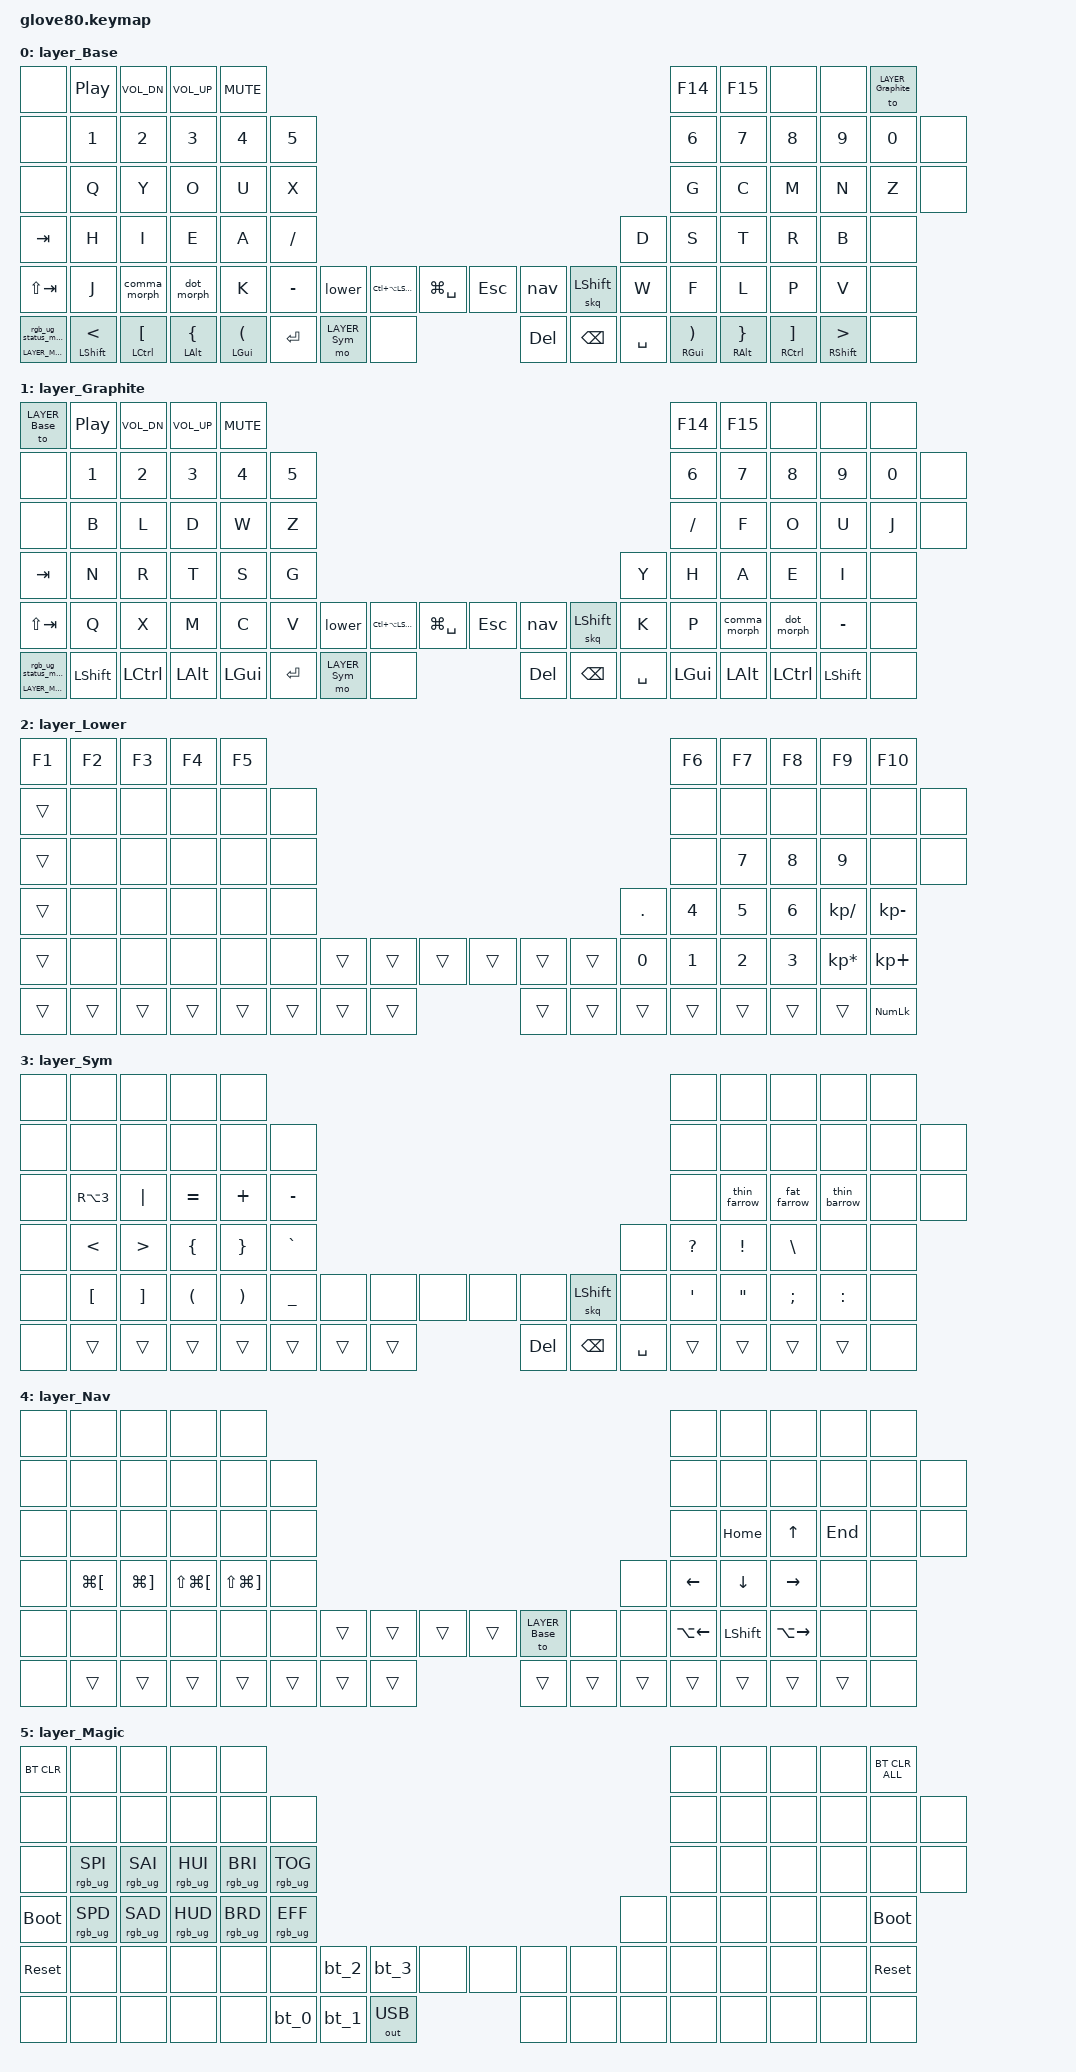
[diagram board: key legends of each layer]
#include <behaviors.dtsi>
/* Include all behaviour includes needed */
#include <dt-bindings/zmk/outputs.h>
#include <dt-bindings/zmk/keys.h>
#include <dt-bindings/zmk/bt.h>
#include <dt-bindings/zmk/rgb.h>

/* Automatically generated layer name #define */
#define LAYER_Base 0
#define LAYER_Graphite 1
#define LAYER_Lower 2
#define LAYER_Sym 3
#define LAYER_Nav 4
#define LAYER_Magic 5

/* To deal with the situation where there is no Lower layer, to keep &lower happy */
#ifndef LAYER_Lower
#define LAYER_Lower 0
#endif

/* Glove80 system behavior & macros */
/ {
    behaviors {
        // For the "layer" key, it'd nice to be able to use it as either a shift or a toggle.
        // Configure it as a tap dance, so the first tap (or hold) is a &mo and the second tap is a &to
        lower: lower {
            compatible = "zmk,behavior-tap-dance";
            label = "LOWER_LAYER_TAP_DANCE";
            #binding-cells = <0>;
            tapping-term-ms = <200>;
            bindings = <&mo LAYER_Lower>, <&to LAYER_Lower>;
        };
        // For the "layer" key, it'd nice to be able to use it as either a shift or a toggle.
        // Configure it as a tap dance, so the first tap (or hold) is a &mo and the second tap is a &to
        nav: nav {
            compatible = "zmk,behavior-tap-dance";
            label = "NAV_LAYER_TAP_DANCE";
            #binding-cells = <0>;
            tapping-term-ms = <200>;
            bindings = <&mo LAYER_Nav>, <&to LAYER_Nav>;
        };

        magic: magic {
            compatible = "zmk,behavior-hold-tap";
            label = "MAGIC_HOLD_TAP";
            #binding-cells = <2>;
            flavor = "tap-preferred";
            tapping-term-ms = <200>;
            bindings = <&mo>, <&rgb_ug_status_macro>;
        };
        skq: sticky_key_quick_release {
            compatible = "zmk,behavior-sticky-key";
            label = "STICKY_KEY_QUICK_RELEASE";
            #binding-cells = <1>;
            bindings = <&kp>;
            release-after-ms = <1000>;
            quick-release;
        };
        rpi: require_prior_idle {
            compatible = "zmk,behavior-hold-tap";
            label = "REQUIRE_PRIOR_IDLE_HOLD_TAP";
            #binding-cells = <2>;
            flavor = "tap-preferred";
            tapping-term-ms = <200>;
            quick-tap-ms = <200>;
            require-prior-idle-ms = <500>;
            bindings = <&kp>, <&kp>;
        };
        /* ------------------------------- mod-morphs ------------------------------- */
        // tap: comma | shift + tap: semicolon
        comma_morph: comma_morph {
            compatible = "zmk,behavior-mod-morph";
            label = "MOD_MORPH_COMMA";
            #binding-cells = <0>;
            bindings = <&kp COMMA>, <&kp SEMICOLON>;
            mods = <(MOD_LSFT|MOD_RSFT)>;
        };
        // tap: dot | shift + tap: colon
        dot_morph: dot_morph {
            compatible = "zmk,behavior-mod-morph";
            label = "MOD_MORPH_DOT";
            #binding-cells = <0>;
            bindings = <&kp DOT>, <&kp COLON>;
            mods = <(MOD_LSFT|MOD_RSFT)>;
        };
        // tap: paren | shift + tap: angle bracket
        lpar_morph: lpar_morph {
            compatible = "zmk,behavior-mod-morph";
            label = "MOD_MORPH_PAREN_L";
            #binding-cells = <0>;
            bindings = <&kp LPAR>, <&kp LT>;
            mods = <(MOD_LSFT|MOD_RSFT)>;
        };
        // tap: paren | shift + tap: angle bracket
        rpar_morph: rpar_morph {
            compatible = "zmk,behavior-mod-morph";
            label = "MOD_MORPH_PAREN_R";
            #binding-cells = <0>;
            bindings = <&kp RPAR>, <&kp GT>;
            mods = <(MOD_LSFT|MOD_RSFT)>;
        };
    };

    macros {
        rgb_ug_status_macro: rgb_ug_status_macro {
            label = "RGB_UG_STATUS";
            compatible = "zmk,behavior-macro";
            #binding-cells = <0>;
            bindings
                = <&rgb_ug RGB_STATUS>;
        };
        bt_0: bt_0 {
            label = "BT_0";
            compatible = "zmk,behavior-macro";
            #binding-cells = <0>;
            bindings
                = <&out OUT_BLE>,
                  <&bt BT_SEL 0>;
        };
        bt_1: bt_1 {
            label = "BT_1";
            compatible = "zmk,behavior-macro";
            #binding-cells = <0>;
            bindings
                = <&out OUT_BLE>,
                  <&bt BT_SEL 1>;
        };
        bt_2: bt_2 {
            label = "BT_2";
            compatible = "zmk,behavior-macro";
            #binding-cells = <0>;
            bindings
                = <&out OUT_BLE>,
                  <&bt BT_SEL 2>;
        };
        bt_3: bt_3 {
            label = "BT_3";
            compatible = "zmk,behavior-macro";
            #binding-cells = <0>;
            bindings
                = <&out OUT_BLE>,
                  <&bt BT_SEL 3>;
        };
        /* TODO: make fat arrows the shifted version of thin arrows */
        thin_farrow: thin_farrow {
            label = "THIN_FARROW";
            compatible = "zmk,behavior-macro";
            #binding-cells = <0>;
            wait-ms = <30>;
            tap-ms = <40>;
            bindings = <&kp MINUS &kp GT>;
        };
        thin_barrow: thin_barrow {
            label = "THIN_BARROW";
            compatible = "zmk,behavior-macro";
            #binding-cells = <0>;
            wait-ms = <30>;
            tap-ms = <40>;
            bindings = <&kp LT &kp MINUS >;
        };
        fat_farrow: fat_farrow {
            label = "FAT_FARROW";
            compatible = "zmk,behavior-macro";
            #binding-cells = <0>;
            wait-ms = <30>;
            tap-ms = <40>;
            bindings = <&kp EQUAL &kp GT>;
        };
    };
};

/ {
keymap {
compatible = "zmk,keymap";


layer_Base {
bindings = <
&none   &kp C_PP  &kp C_VOL_DN  &kp C_VOL_UP  &kp C_MUTE                                                                                                    &kp F14   &kp F15     &none      &none      &to LAYER_Graphite
&none      &kp N1        &kp N2        &kp N3      &kp N4    &kp N5                                                                                 &kp N6    &kp N7    &kp N8    &kp N9     &kp N0     &none
&none      &kp Q         &kp Y         &kp O       &kp U     &kp X                                                                                  &kp G     &kp C     &kp M     &kp N      &kp Z   &none
&kp TAB      &kp H         &kp I         &kp E       &kp A  &kp FSLH                                                                                  &kp D     &kp S     &kp T     &kp R      &kp B    &none
&kp LS(TAB)      &kp J  &comma_morph    &dot_morph       &kp K   &kp MINUS  &lower  &kp LC(LA(LSHFT))  &kp LG(SPC)  &kp ESC   &nav  &skq LSHFT  &kp W     &kp F     &kp L     &kp P      &kp V  &none
&magic LAYER_Magic 0  &mt LSHFT LT    &mt LCTL LBKT   &mt LALT LBRC   &mt LGUI LPAR     &kp RET  &mo LAYER_Sym   &none  &kp DEL  &kp BSPC      &kp SPC  &mt RGUI RPAR  &mt RALT RBRC  &mt RCTL RBKT  &mt RSHFT GT  &none
>;
};

layer_Graphite {
bindings = <
&to LAYER_Base   &kp C_PP  &kp C_VOL_DN  &kp C_VOL_UP  &kp C_MUTE                                                                                           &kp F14   &kp F15     &none      &none      &none
&none      &kp N1        &kp N2        &kp N3      &kp N4    &kp N5                                                                                 &kp N6    &kp N7    &kp N8    &kp N9     &kp N0     &none
&none      &kp B         &kp L         &kp D       &kp W     &kp Z                                                                                  &kp FSLH  &kp F     &kp O     &kp U      &kp J   &none
&kp TAB    &kp N         &kp R         &kp T       &kp S     &kp G                                                                                  &kp Y     &kp H     &kp A     &kp E      &kp I   &none
&kp LS(TAB)  &kp Q       &kp X         &kp M       &kp C     &kp V       &lower  &kp LC(LA(LSHFT))  &kp LG(SPC)  &kp ESC   &nav  &skq LSHFT  &kp K     &kp P     &comma_morph    &dot_morph    &kp MINUS     &none
&magic LAYER_Magic 0  &kp LSHFT      &kp LCTL      &kp LALT    &kp LGUI     &kp RET  &mo LAYER_Sym   &none  &kp DEL  &kp BSPC      &kp SPC         &kp LGUI  &kp LALT  &kp LCTL  &kp LSHFT  &none
>;
};

layer_Lower {
bindings = <
&kp F1  &kp F2  &kp F3  &kp F4  &kp F5                                                                      &kp F6     &kp F7     &kp F8           &kp F9       &kp F10
&trans   &none   &none   &none   &none   &none                                                    &none      &none      &none      &none            &none         &none
&trans   &none   &none   &none   &none   &none                                                    &none     &kp N7     &kp N8     &kp N9            &none         &none
&trans   &none   &none   &none   &none   &none                                                  &kp DOT     &kp N4     &kp N5     &kp N6     &kp KP_SLASH  &kp KP_MINUS
&trans   &none   &none   &none   &none   &none  &trans  &trans  &trans  &trans  &trans  &trans   &kp N0     &kp N1     &kp N2     &kp N3  &kp KP_MULTIPLY   &kp KP_PLUS
&trans  &trans  &trans  &trans  &trans          &trans  &trans  &trans  &trans  &trans  &trans              &trans     &trans     &trans           &trans    &kp KP_NUM
>;
};

layer_Sym {
bindings = <
&none  &none  &none  &none  &none                                                                           &none   &none   &none   &none  &none
&none  &none  &none  &none  &none  &none                                                            &none   &none   &none   &none   &none  &none
&none  &kp RA(N3)  &kp PIPE  &kp EQUAL   &kp PLUS  &kp MINUS                                            &none   &thin_farrow   &fat_farrow   &thin_barrow   &none  &none
&none      &kp LT    &kp GT   &kp LBRC   &kp RBRC  &kp GRAVE                                            &none   &kp QMARK   &kp EXCL   &kp BSLH   &none  &none
&none    &kp LBKT  &kp RBKT   &kp LPAR   &kp RPAR  &kp UNDER  &none  &none  &none  &none  &none  &skq LSHFT  &none  &kp SQT   &kp DQT   &kp SEMI  &kp COLON   &none
&none    &trans      &trans     &trans     &trans         &trans  &trans  &trans  &kp DEL  &kp BSPC  &kp SPC         &trans  &trans  &trans  &trans  &none
>;
};

layer_Nav {
bindings = <
&none  &none         &none         &none             &none                                                                               &none          &none       &none          &none   &none
&none  &none         &none         &none             &none             &none                                                     &none   &none          &none       &none          &none   &none
&none  &none         &none         &none             &none             &none                                                     &none   &kp HOME       &kp UP      &kp END        &none   &none
&none  &kp LG(LBKT)  &kp LG(RBKT)  &kp LS(LG(LBKT))  &kp LS(LG(RBKT))  &none                                                     &none   &kp LEFT       &kp DOWN    &kp RIGHT      &none   &none
&none  &none         &none         &none             &none             &none  &trans  &trans  &trans  &trans  &to LAYER_Base  &none  &none   &kp LA(LEFT)   &kp LSHIFT  &kp LA(RIGHT)  &none   &none
&none  &trans        &trans        &trans            &trans                   &trans  &trans  &trans  &trans  &trans           &trans          &trans         &trans      &trans         &trans  &none
>;
};

layer_Magic {
bindings = <
&bt BT_CLR            &none            &none            &none            &none                                                                                  &none   &none   &none   &none  &bt BT_CLR_ALL
&none            &none            &none            &none            &none            &none                                                         &none   &none   &none   &none   &none           &none
&none  &rgb_ug RGB_SPI  &rgb_ug RGB_SAI  &rgb_ug RGB_HUI  &rgb_ug RGB_BRI  &rgb_ug RGB_TOG                                                         &none   &none   &none   &none   &none           &none
&bootloader  &rgb_ug RGB_SPD  &rgb_ug RGB_SAD  &rgb_ug RGB_HUD  &rgb_ug RGB_BRD  &rgb_ug RGB_EFF                                                         &none   &none   &none   &none   &none     &bootloader
&sys_reset            &none            &none            &none            &none            &none   &bt_2   &bt_3         &none   &none   &none   &none   &none   &none   &none   &none   &none      &sys_reset
&none            &none            &none            &none            &none                    &bt_0   &bt_1  &out OUT_USB   &none   &none   &none           &none   &none   &none   &none           &none
>;
};
};
};
